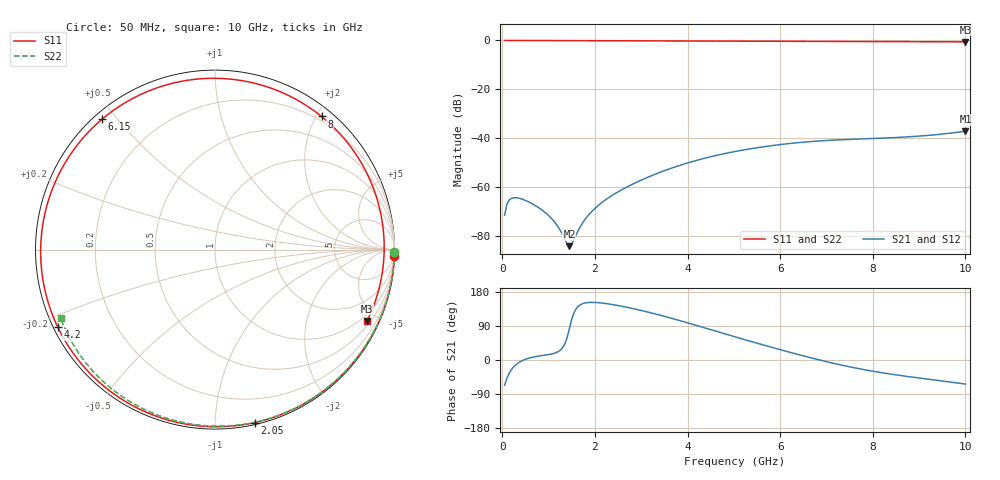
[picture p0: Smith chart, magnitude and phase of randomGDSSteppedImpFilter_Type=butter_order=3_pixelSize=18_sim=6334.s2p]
! freq	dB(S11)	phase(S11)	dB(S12)	phase(S12)
!  dB(S21)	phase(S21)	dB(S22)	phase(S22)
!S-par simulation data
#  GHz  S  DB  R 50
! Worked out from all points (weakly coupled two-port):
!   200 points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, 50 MHz to 10 GHz, reference 50 ohm
!   highest |S21| = -37.20 dB at 10 GHz (marker M1); lowest = -84.3 dB at 1.45 GHz (marker M2)
!   lowest |S11| = -0.6 dB at 10 GHz (marker M3), VSWR 30.02, Z = 34.3 - j219 ohm
!   |S11| at or under -10 dB: nowhere
!   |S22| runs from -0.5 to 0.0 dB; largest |S21 - S12| = 0
!   S11 on the Smith chart (normalised r, x): 50 MHz: 0, -59; 2.05 GHz: 0.01, -1.26; 4.2 GHz: 0.01, -0.23; 6.15 GHz: 0.02, +0.46; 8 GHz: 0.14, +2.07; 10 GHz: 0.69, -4.37
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0.05  -0.00 -1.9  -71.65 -66.8  -71.65 -66.8  -0.00 -0.9
0.1  -0.00 -3.9  -67.14 -48.2  -67.14 -48.2  -0.00 -1.8
0.15  -0.00 -5.8  -65.42 -34.7  -65.42 -34.7  -0.00 -2.7
0.4  -0.01 -15.4  -64.87 -3.6  -64.87 -3.6  -0.01 -7.2
0.85  -0.04 -32.5  -69.40 11.5  -69.40 11.5  -0.02 -15.3
1.3  -0.06 -49.4  -79.54 31.9  -79.54 31.9  -0.03 -23.3
1.45  -0.07 -55.0  -84.32 83.0  -84.32 83.0  -0.03 -25.9
1.6  -0.08 -60.5  -79.44 136.3  -79.44 136.3  -0.04 -28.5
1.75  -0.08 -66.0  -74.33 149.3  -74.33 149.3  -0.04 -31.2
2.05  -0.10 -77.0  -67.99 151.6  -67.99 151.6  -0.05 -36.4
2.7  -0.13 -100.4  -59.97 138.9  -59.97 138.9  -0.06 -47.4
3.4  -0.16 -125.3  -54.10 118.5  -54.10 118.5  -0.08 -59.1
4.2  -0.21 -153.9  -49.12 91.0  -49.12 91.0  -0.10 -72.0
5.05  -0.26 174.6  -45.43 60.2  -45.43 60.2  -0.13 -85.2
5.6  -0.30 153.2  -43.69 40.9  -43.69 40.9  -0.15 -93.5
6.15  -0.34 130.9  -42.35 22.3  -42.35 22.3  -0.18 -101.6
6.7  -0.38 107.7  -41.38 4.6  -41.38 4.6  -0.21 -109.6
7.35  -0.42 79.5  -40.67 -14.1  -40.67 -14.1  -0.26 -118.8
8  -0.45 51.3  -40.20 -29.6  -40.20 -29.6  -0.31 -128.0
8.35  -0.46 36.6  -39.93 -36.5  -39.93 -36.5  -0.34 -132.9
9.15  -0.50 4.8  -38.98 -49.9  -38.98 -49.9  -0.42 -144.0
10  -0.58 -25.2  -37.20 -63.6  -37.20 -63.6  -0.53 -156.1
